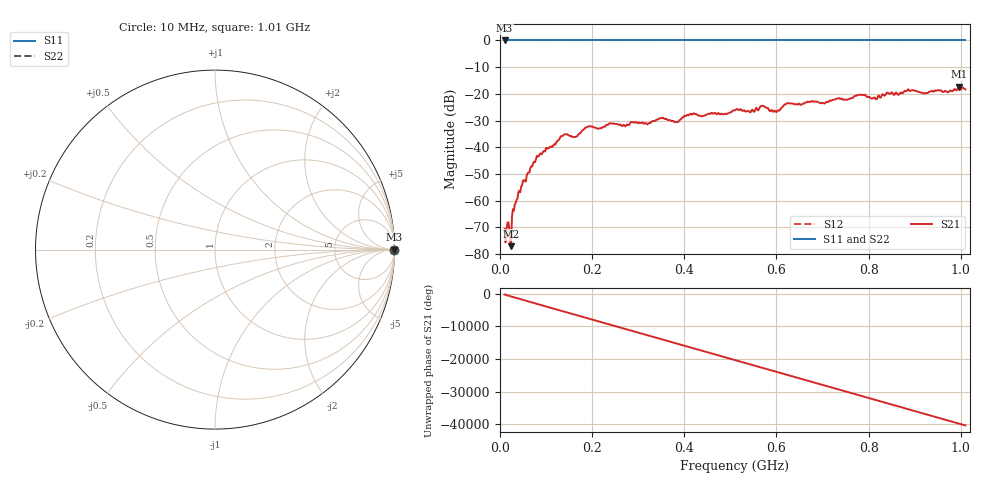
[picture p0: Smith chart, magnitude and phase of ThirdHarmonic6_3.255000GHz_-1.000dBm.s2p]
! 8/17/2025 10:01:49 AM
! C:\ANRITSUVNA\TEMP\TEMP.S2P
! CHANNEL.1
! TR.MEASUREMENT
! RAW.DATA
! RF.CORRECTION.OFF
! AVERAGING.OFF
! IF.BANDWIDTH: 5KHZ
! SWEEPTYPE:  FREQ.SWEEP(Linear)
! Reference Plane Port Info
! PORT:  PORT1  PORT2
! DISTANCE:  0  m  0  m
! TIME:  0  s  0  s
! PHASE.OFFSET:  0  deg.  0  deg.
! LOSS:  0  dB  0  dB
! REF.LOSS:  0  dB  0  dB
! REF.FREQ:  0  Hz  0  Hz
! Power Info
! POWER:  -20  dBm  -20  dBm
! EFF.POWER:  -20  dBm  -20  dBm
! SOURCE.ATTEN:  0  dB  0  dB
! TEST.ATTEN:  0  dB  0  dB
# GHZ S RI R 50.0
! FREQ.GHZ  S11RE  S11IM  S21RE  S21IM  S12RE  S12IM  S22RE  S22IM
!; PortSelection: Port_12
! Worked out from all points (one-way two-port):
!   501 points, 10 MHz to 1.01 GHz, reference 50 ohm
!   highest |S21| = -17.27 dB at 996 MHz (marker M1); lowest = -77.0 dB at 24 MHz (marker M2)
!   lowest |S11| = 0.0 dB at 10 MHz (marker M3)
!   |S11| at or under -10 dB: nowhere
!   |S22| runs from 0.0 to 0.0 dB; largest |S21 - S12| = 1.1
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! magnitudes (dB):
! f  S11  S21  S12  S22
! 10 MHz  0.0  -70.6  0.0  0.0
! 24 MHz  0.0  -77.0  0.0  0.0
! 30 MHz  0.0  -63.7  0.0  0.0
! 44 MHz  0.0  -56.9  0.0  0.0
! 82 MHz  0.0  -43.5  0.0  0.0
! 136 MHz  0.0  -35.8  0.0  0.0
! 164 MHz  0.0  -36.1  0.0  0.0
! 178 MHz  0.0  -33.8  0.0  0.0
! 344 MHz  0.0  -29.5  0.0  0.0
! 382 MHz  0.0  -30.5  0.0  0.0
! 416 MHz  0.0  -27.8  0.0  0.0
! 510 MHz  0.0  -26.1  0.0  0.0
! 540 MHz  0.0  -26.5  0.0  0.0
! 570 MHz  0.0  -24.4  0.0  0.0
! 596 MHz  0.0  -26.3  0.0  0.0
! 622 MHz  0.0  -23.6  0.0  0.0
! 678 MHz  0.0  -22.7  0.0  0.0
! 782 MHz  0.0  -20.3  0.0  0.0
! 814 MHz  0.0  -21.5  0.0  0.0
! 844 MHz  0.0  -20.0  0.0  0.0
! 996 MHz  0.0  -17.3  0.0  0.0
! 1.01 GHz  0.0  -18.3  0.0  0.0
